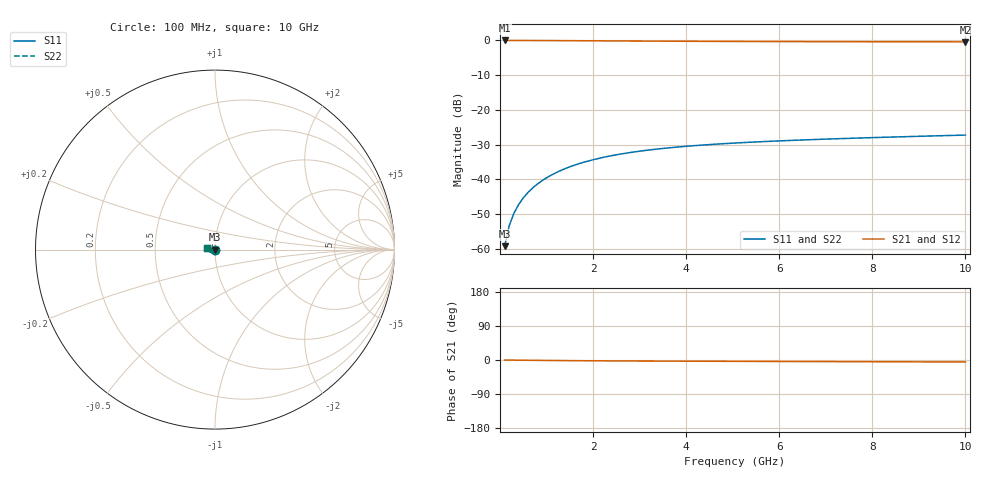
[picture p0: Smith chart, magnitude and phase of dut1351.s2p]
! Touchstone file exported from HFSS 2024.1.0
!  File:  C:/UserFiles/LocalFiles/RDL_TSV_Batchsim/temp_TSV1_1351_1780377370.aedt
!  Generated:  01:20:59 PM Jun  2, 2026
!  Design:  TSV1
!  Project:  temp_TSV1_1351_1780377370
!  Setup:  Setup1
!  Solution:  Sweep
! Variables:
!  dtsv = 9.25um
!  hbump = 3um
!  htsv = 80.25um
!  lrdl = 252.1521522um
!  p = 40
!  p1 = 53.16um
!  t = 500um
!  trdl = 3um
!  wrdl = 24.89489489um
# GHz S MA R 50.000000
! Terminal data exported
! Port[1] = TSV22_T1
! Port[2] = TSV22_T2
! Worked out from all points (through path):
!   100 points, 100 MHz to 10 GHz, reference 50 ohm
!   highest |S21| = 0.00 dB at 100 MHz (marker M1); lowest = -0.4 dB at 10 GHz (marker M2)
!   lowest |S11| = -59.2 dB at 100 MHz (marker M3), VSWR 1.00, Z = 50 - j0.109 ohm
!   |S11| at or under -10 dB: start of sweep to end of sweep
!   |S22| runs from -59.2 to -27.2 dB; largest |S21 - S12| = 4.3e-15
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0.1  0.001097 -83.1  0.9998 -0.1  0.9998 -0.1  0.001097 -83.1
! Gamma 0 0 0 0
! Port Impedance 50 0 50 0
0.2  0.002178 -89.3  0.9997 -0.2  0.9997 -0.2  0.002178 -89.3
0.3  0.003263 -92.7  0.9995 -0.4  0.9995 -0.4  0.003263 -92.7
0.4  0.004343 -95.3  0.9992 -0.5  0.9992 -0.5  0.004343 -95.3
0.5  0.005415 -97.7  0.9988 -0.6  0.9988 -0.6  0.005415 -97.7
0.6  0.006475 -100.0  0.9984 -0.7  0.9984 -0.7  0.006475 -100.0
0.7  0.007522 -102.1  0.998 -0.8  0.998 -0.8  0.007522 -102.1
0.8  0.008552 -104.2  0.9974 -0.9  0.9974 -0.9  0.008552 -104.2
0.9  0.009564 -106.2  0.9969 -1.1  0.9969 -1.1  0.009564 -106.2
1.1  0.01153 -110.1  0.9956 -1.3  0.9956 -1.3  0.01153 -110.1
1.4  0.01431 -115.7  0.9933 -1.6  0.9933 -1.6  0.01431 -115.7
1.6  0.01605 -119.2  0.9917 -1.7  0.9917 -1.7  0.01605 -119.2
1.8  0.01768 -122.6  0.99 -1.9  0.99 -1.9  0.01768 -122.6
2.1  0.01995 -127.4  0.9874 -2.1  0.9874 -2.1  0.01995 -127.4
2.5  0.02264 -133.4  0.984 -2.4  0.984 -2.4  0.02264 -133.4
2.9  0.02498 -138.9  0.9807 -2.6  0.9807 -2.6  0.02498 -138.9
3.4  0.02749 -145.1  0.9769 -2.9  0.9769 -2.9  0.02749 -145.1
4.2  0.03073 -153.9  0.9718 -3.2  0.9718 -3.2  0.03073 -153.9
5.1  0.03358 -162.3  0.9672 -3.6  0.9672 -3.6  0.03358 -162.3
6.7  0.03744 -174.5  0.9614 -4.1  0.9614 -4.1  0.03744 -174.5
8.4  0.04072 175.1  0.9574 -4.7  0.9574 -4.7  0.04072 175.1
10  0.0435 166.9  0.9548 -5.2  0.9548 -5.2  0.0435 166.9
